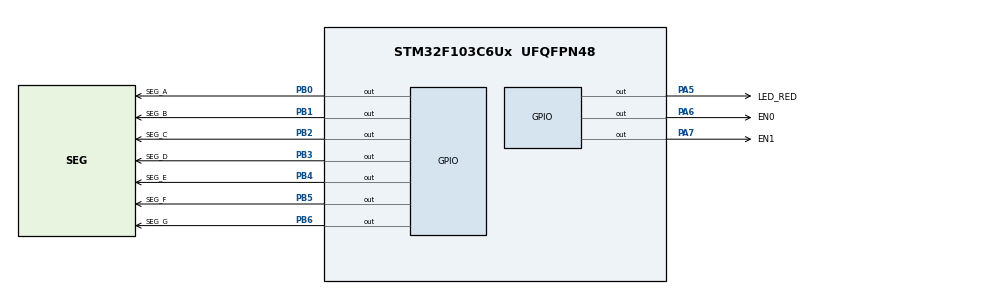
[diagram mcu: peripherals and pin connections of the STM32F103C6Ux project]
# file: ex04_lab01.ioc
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Mcu.Family=STM32F1
Mcu.Name=STM32F103C6Ux
Mcu.Package=UFQFPN48
NVIC.PriorityGroup=NVIC_PRIORITYGROUP_4
NVIC.TIM2_IRQn=true\:0\:0\:false\:false\:true\:true\:true\:true
PA13.Mode=Serial_Wire
PA13.Signal=SYS_JTMS-SWDIO
PA14.Mode=Serial_Wire
PA14.Signal=SYS_JTCK-SWCLK
PA5.GPIO_Label=LED_RED
PA5.PinState=GPIO_PIN_SET
PA5.Signal=GPIO_Output
PA6.GPIO_Label=EN0
PA6.GPIO_Speed=GPIO_SPEED_FREQ_LOW
PA6.PinState=GPIO_PIN_SET
PA6.Signal=GPIO_Output
PA7.GPIO_Label=EN1
PA7.PinState=GPIO_PIN_SET
PA7.Signal=GPIO_Output
PB0.GPIO_Label=SEG_A
PB0.PinState=GPIO_PIN_SET
PB0.Signal=GPIO_Output
PB1.GPIO_Label=SEG_B
PB1.PinState=GPIO_PIN_SET
PB1.Signal=GPIO_Output
PB2.GPIO_Label=SEG_C
PB2.PinState=GPIO_PIN_SET
PB2.Signal=GPIO_Output
PB3.GPIO_Label=SEG_D
PB3.PinState=GPIO_PIN_SET
PB3.Signal=GPIO_Output
PB4.GPIO_Label=SEG_E
PB4.PinState=GPIO_PIN_SET
PB4.Signal=GPIO_Output
PB5.GPIO_Label=SEG_F
PB5.PinState=GPIO_PIN_SET
PB5.Signal=GPIO_Output
PB6.GPIO_Label=SEG_G
PB6.PinState=GPIO_PIN_SET
PB6.Signal=GPIO_Output
ProjectManager.HeapSize=0x200
ProjectManager.StackSize=0x400
ProjectManager.TargetToolchain=CMake
RCC.APB1Freq_Value=8000000
RCC.APB2Freq_Value=8000000
TIM2.Period=9
TIM2.Prescaler=7999
VP_TIM2_VS_ClockSourceINT.Mode=Internal
board=custom

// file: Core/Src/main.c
/* USER CODE BEGIN Header */
/**
  ******************************************************************************
  * @file           : main.c
  * @brief          : Main program body
  ******************************************************************************
  * @attention
  *
  * Copyright (c) 2026 STMicroelectronics.
  * All rights reserved.
  *
  * This software is licensed under terms that can be found in the LICENSE file
  * in the root directory of this software component.
  * If no LICENSE file comes with this software, it is provided AS-IS.
  *
  ******************************************************************************
  */
/* USER CODE END Header */
#include "main.h"

TIM_HandleTypeDef htim2;

void SystemClock_Config(void);
static void MX_GPIO_Init(void);
static void MX_TIM2_Init(void);
/* USER CODE BEGIN PFP */
void display7SEG(int num);
/* USER CODE END PFP */

/* USER CODE BEGIN 0 */
void display7SEG(int num){
    /* Turn off all seven segments first */
    HAL_GPIO_WritePin(
        GPIOB,
        GPIO_PIN_0 | GPIO_PIN_1 | GPIO_PIN_2 | GPIO_PIN_3 |
        GPIO_PIN_4 | GPIO_PIN_5 | GPIO_PIN_6,
        GPIO_PIN_SET
    );

    if (num == 1)
    {
        /* Number 1 uses segments b and c */
        HAL_GPIO_WritePin(
            GPIOB,
            GPIO_PIN_1 | GPIO_PIN_2,
            GPIO_PIN_RESET
        );
    }
    else if (num == 2)
    {
        /* Number 2 uses segments a, b, d, e, and g */
        HAL_GPIO_WritePin(
            GPIOB,
            GPIO_PIN_0 | GPIO_PIN_1 | GPIO_PIN_3 |
            GPIO_PIN_4 | GPIO_PIN_6,
            GPIO_PIN_RESET
        );
    }
  }
/* USER CODE END 0 */

int main(void)
{

  /* MCU Configuration--------------------------------------------------------*/

  /* Reset of all peripherals, Initializes the Flash interface and the Systick. */
  HAL_Init();

  /* Configure the system clock */
  SystemClock_Config();

  /* Initialize all configured peripherals */
  MX_GPIO_Init();
  MX_TIM2_Init();
  /* USER CODE BEGIN 2 */

/* Disable both displays */
HAL_GPIO_WritePin(
    GPIOA,
    GPIO_PIN_6 | GPIO_PIN_7,
    GPIO_PIN_SET
);

/* Prepare number 1, then enable the first display */
display7SEG(1);
HAL_GPIO_WritePin(GPIOA, GPIO_PIN_6, GPIO_PIN_RESET);

/* Start TIM2 with interrupts */
HAL_TIM_Base_Start_IT(&htim2);

  /* USER CODE END 2 */

  /* Infinite loop */
  while (1)
  {

  }
}

void SystemClock_Config(void)
{
  RCC_OscInitTypeDef RCC_OscInitStruct = {0};
  RCC_ClkInitTypeDef RCC_ClkInitStruct = {0};

  /** Initializes the RCC Oscillators according to the specified parameters
  * in the RCC_OscInitTypeDef structure.
  */
  RCC_OscInitStruct.OscillatorType = RCC_OSCILLATORTYPE_HSI;
  RCC_OscInitStruct.HSIState = RCC_HSI_ON;
  RCC_OscInitStruct.HSICalibrationValue = RCC_HSICALIBRATION_DEFAULT;
  RCC_OscInitStruct.PLL.PLLState = RCC_PLL_NONE;
  if (HAL_RCC_OscConfig(&RCC_OscInitStruct) != HAL_OK)
  {
    Error_Handler();
  }

  /** Initializes the CPU, AHB and APB buses clocks
  */
  RCC_ClkInitStruct.ClockType = RCC_CLOCKTYPE_HCLK|RCC_CLOCKTYPE_SYSCLK
                              |RCC_CLOCKTYPE_PCLK1|RCC_CLOCKTYPE_PCLK2;
  RCC_ClkInitStruct.SYSCLKSource = RCC_SYSCLKSOURCE_HSI;
  RCC_ClkInitStruct.AHBCLKDivider = RCC_SYSCLK_DIV1;
  RCC_ClkInitStruct.APB1CLKDivider = RCC_HCLK_DIV1;
  RCC_ClkInitStruct.APB2CLKDivider = RCC_HCLK_DIV1;

  if (HAL_RCC_ClockConfig(&RCC_ClkInitStruct, FLASH_LATENCY_0) != HAL_OK)
  {
    Error_Handler();
  }
}

static void MX_TIM2_Init(void)
{

  TIM_ClockConfigTypeDef sClockSourceConfig = {0};
  TIM_MasterConfigTypeDef sMasterConfig = {0};

  htim2.Instance = TIM2;
  htim2.Init.Prescaler = 7999;
  htim2.Init.CounterMode = TIM_COUNTERMODE_UP;
  htim2.Init.Period = 9;
  htim2.Init.ClockDivision = TIM_CLOCKDIVISION_DIV1;
  htim2.Init.AutoReloadPreload = TIM_AUTORELOAD_PRELOAD_DISABLE;
  if (HAL_TIM_Base_Init(&htim2) != HAL_OK)
  {
    Error_Handler();
  }
  sClockSourceConfig.ClockSource = TIM_CLOCKSOURCE_INTERNAL;
  if (HAL_TIM_ConfigClockSource(&htim2, &sClockSourceConfig) != HAL_OK)
  {
    Error_Handler();
  }
  sMasterConfig.MasterOutputTrigger = TIM_TRGO_RESET;
  sMasterConfig.MasterSlaveMode = TIM_MASTERSLAVEMODE_DISABLE;
  if (HAL_TIMEx_MasterConfigSynchronization(&htim2, &sMasterConfig) != HAL_OK)
  {
    Error_Handler();
  }

}

static void MX_GPIO_Init(void)
{
  GPIO_InitTypeDef GPIO_InitStruct = {0};

  /* GPIO Ports Clock Enable */
  __HAL_RCC_GPIOA_CLK_ENABLE();
  __HAL_RCC_GPIOB_CLK_ENABLE();

  /*Configure GPIO pin Output Level */
  HAL_GPIO_WritePin(GPIOA, LED_RED_Pin|EN0_Pin|EN1_Pin, GPIO_PIN_SET);

  /*Configure GPIO pin Output Level */
  HAL_GPIO_WritePin(GPIOB, SEG_A_Pin|SEG_B_Pin|SEG_C_Pin|SEG_D_Pin
                          |SEG_E_Pin|SEG_F_Pin|SEG_G_Pin, GPIO_PIN_SET);

  /*Configure GPIO pins : LED_RED_Pin EN0_Pin EN1_Pin */
  GPIO_InitStruct.Pin = LED_RED_Pin|EN0_Pin|EN1_Pin;
  GPIO_InitStruct.Mode = GPIO_MODE_OUTPUT_PP;
  GPIO_InitStruct.Pull = GPIO_NOPULL;
  GPIO_InitStruct.Speed = GPIO_SPEED_FREQ_LOW;
  HAL_GPIO_Init(GPIOA, &GPIO_InitStruct);

  /*Configure GPIO pins : SEG_A_Pin SEG_B_Pin SEG_C_Pin SEG_D_Pin
                           SEG_E_Pin SEG_F_Pin SEG_G_Pin */
  GPIO_InitStruct.Pin = SEG_A_Pin|SEG_B_Pin|SEG_C_Pin|SEG_D_Pin
                          |SEG_E_Pin|SEG_F_Pin|SEG_G_Pin;
  GPIO_InitStruct.Mode = GPIO_MODE_OUTPUT_PP;
  GPIO_InitStruct.Pull = GPIO_NOPULL;
  GPIO_InitStruct.Speed = GPIO_SPEED_FREQ_LOW;
  HAL_GPIO_Init(GPIOB, &GPIO_InitStruct);

}

/* USER CODE BEGIN 4 */
void HAL_TIM_PeriodElapsedCallback(TIM_HandleTypeDef *htim){
    if (htim->Instance == TIM2)
    {
        static uint8_t ticks = 0;
        static uint8_t active_display = 0;

        ticks++;

        if (ticks >= 50)
        {
            ticks = 0;

            /* Turn off both displays before changing segments */
            HAL_GPIO_WritePin(
                GPIOA,
                GPIO_PIN_6 | GPIO_PIN_7,
                GPIO_PIN_SET
            );

            if (active_display == 0)
            {
                /* Change from the first display to the second */
                display7SEG(2);
                HAL_GPIO_WritePin(
                    GPIOA, GPIO_PIN_7, GPIO_PIN_RESET
                );
                active_display = 1;
            }
            else
            {
                /* Change from the second display to the first */
                display7SEG(1);
                HAL_GPIO_WritePin(
                    GPIOA, GPIO_PIN_6, GPIO_PIN_RESET
                );
                active_display = 0;
            }
        }
    }
  }
/* USER CODE END 4 */

void Error_Handler(void)
{
  __disable_irq();
  while (1)
  {
  }
}
